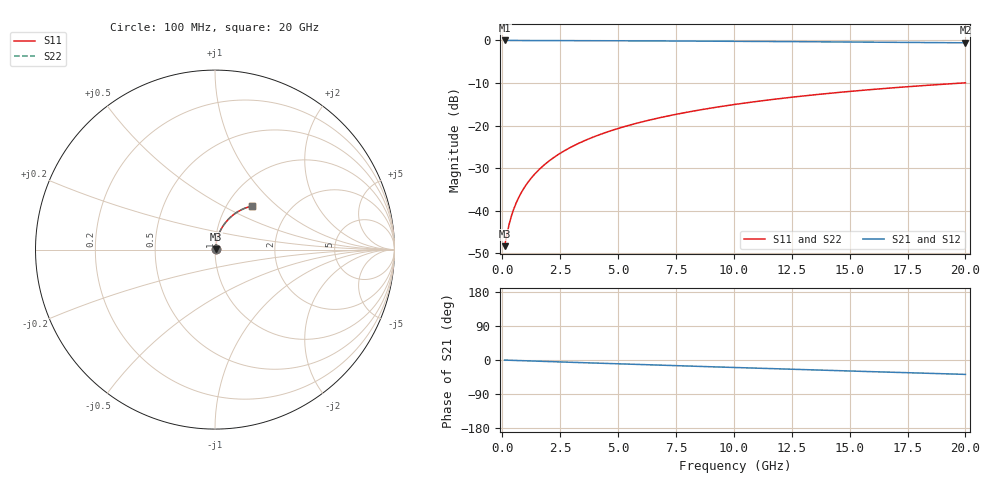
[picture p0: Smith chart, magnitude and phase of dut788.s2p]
! Touchstone file exported from HFSS 2026.1.0
!  File:  C:/ffzhzh/LocalFiles/Ansys_Project_Files/temp_train_BSMRDL_788_1783169497_22436.aedt
!  Generated:  08:52:49 PM Jul  4, 2026
!  Design:  BSMRDL
!  Project:  temp_train_BSMRDL_788_1783169497_22436
! Variables:
!  h_bsmrdl = 4.15um
!  h_ox = 20um
!  h_rdl = 5um
!  h_sub = 80um
!  h_tmrdl = 5um
!  h_tsv = 80um
!  h_via = 3um
!  l_bsmrdl = 583.56um
!  l_sub = 983.56um
!  l_tmrdl = 200um
!  m_sub = 200um
!  pitch = 34.07um
!  r_tsv = 6um
!  s_tmrdl = 10um
!  w_bsmrdl = 16.08um
!  w_sub = 500um
!  w_tmrdl = 12um
!  x_tsv_center1 = 206um
!  x_tsv_center2 = 805.64um
!  x_tsv_center3 = 1017.64um
!  x_tsv_center4 = 1617.28um
!  x_tsv_center5 = 1829.28um
!  x_tsv_center6 = 2428.92um
# GHz S MA R 50.000000
! Terminal data exported
! Port[1] = BSM_RDL1_1_T1
! Port[2] = BSM_RDL1_1_T2
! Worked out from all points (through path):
!   200 points, 100 MHz to 20 GHz, reference 50 ohm
!   highest |S21| = -0.03 dB at 100 MHz (marker M1); lowest = -0.6 dB at 20 GHz (marker M2)
!   group delay of S21, straight-line fit = 5.27 ps
!   lowest |S11| = -48.3 dB at 100 MHz (marker M3), VSWR 1.01, Z = 50.3 + j0.21 ohm
!   |S11| at or under -10 dB: start of sweep to 19.92 GHz
!   |S22| runs from -48.3 to -10.0 dB; largest |S21 - S12| = 3.6e-15
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0.1  0.003845 32.8  0.9968 -0.2  0.9968 -0.2  0.003845 32.8
! Gamma 0 0 0 0
! Port Impedance 50 0 50 0
0.2  0.005318 50.6  0.9966 -0.4  0.9966 -0.4  0.005318 50.5
0.3  0.007025 59.5  0.9965 -0.6  0.9965 -0.6  0.007024 59.5
0.4  0.008787 64.8  0.9963 -0.8  0.9963 -0.8  0.008786 64.8
0.5  0.01057 68.3  0.9962 -1.0  0.9962 -1.0  0.01056 68.3
0.6  0.01235 70.7  0.9961 -1.2  0.9961 -1.2  0.01235 70.7
0.8  0.01596 74.0  0.996 -1.6  0.996 -1.6  0.01596 74.0
1.1  0.02144 76.7  0.9957 -2.3  0.9957 -2.3  0.02144 76.7
1.3  0.02512 77.7  0.9956 -2.7  0.9956 -2.7  0.02512 77.7
1.6  0.03065 78.6  0.9953 -3.3  0.9953 -3.3  0.03065 78.6
2.1  0.03989 79.2  0.9947 -4.3  0.9947 -4.3  0.03989 79.2
2.7  0.05095 79.0  0.9939 -5.5  0.9939 -5.5  0.05095 79.0
3.5  0.06556 78.2  0.9925 -7.1  0.9925 -7.1  0.06556 78.2
4.2  0.07818 77.2  0.9911 -8.5  0.9911 -8.5  0.07818 77.2
5  0.09241 75.9  0.9893 -10.1  0.9893 -10.1  0.09241 75.9
5.9  0.1082 74.4  0.987 -11.8  0.987 -11.8  0.1082 74.4
6.8  0.1236 72.8  0.9846 -13.6  0.9846 -13.6  0.1236 72.8
8.3  0.1487 70.1  0.9801 -16.5  0.9801 -16.5  0.1487 70.2
10.1  0.1779 66.9  0.9743 -19.9  0.9743 -19.9  0.1779 67.0
13.4  0.2284 61.1  0.9624 -26.1  0.9624 -26.1  0.2284 61.2
16.7  0.275 55.3  0.9493 -32.1  0.9493 -32.1  0.275 55.4
20  0.3172 49.7  0.9355 -38.0  0.9355 -38.0  0.3172 49.8
